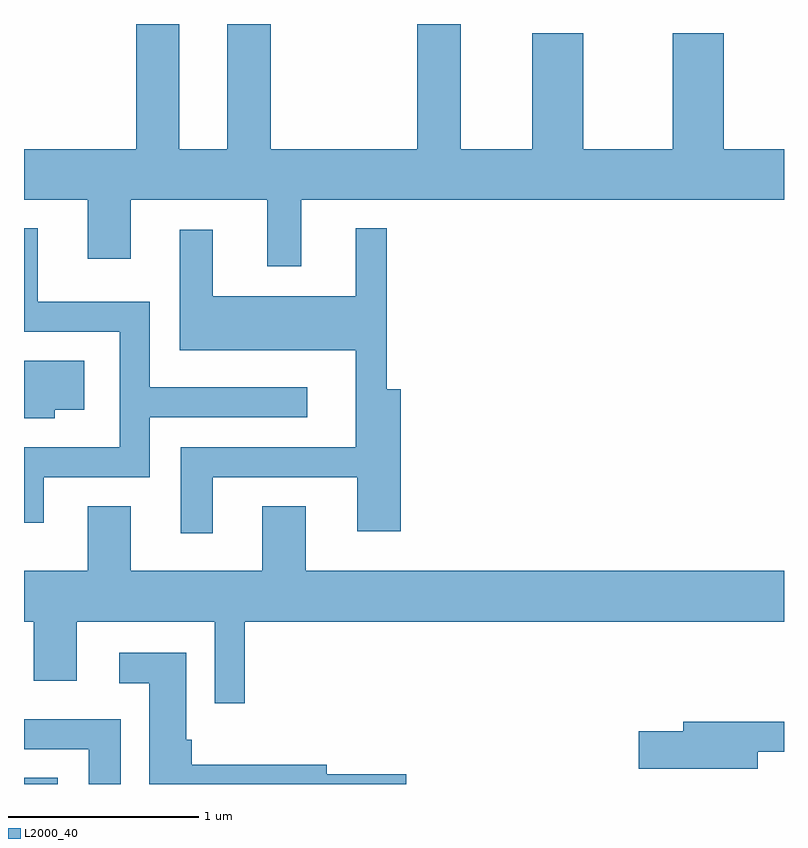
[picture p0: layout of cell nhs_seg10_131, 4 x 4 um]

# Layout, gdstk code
import gdstk
lib = gdstk.Library(unit=1e-6, precision=1e-09)
def R(c, l, rs):  # rectangles x0, y0, x1, y1
    for r in rs: c.add(gdstk.rectangle(r[:2], r[2:], *l))
def P(c, l, *ps):  # polygons
    for p in ps: c.add(gdstk.Polygon(p, *l))
L2000_40 = (2000, 40)

nhs_seg10_131 = lib.new_cell('nhs_seg10_131')
R(nhs_seg10_131, L2000_40, [(187.611,2208.522,187.789,2208.554)])
P(nhs_seg10_131, L2000_40, [(189.069,2211.596),(191.611,2211.596),(191.611,2211.864),(191.294,2211.864),(191.294,2212.474),(191.026,2212.474),(191.026,2211.864),(190.554,2211.864),(190.554,2212.474),(190.286,2212.474),(190.286,2211.864),(189.909,2211.864),(189.909,2212.522),(189.681,2212.522),(189.681,2211.864),(188.909,2211.864),(188.909,2212.522),(188.681,2212.522),(188.681,2211.864),(188.429,2211.864),(188.429,2212.522),(188.201,2212.522),(188.201,2211.864),(187.611,2211.864),(187.611,2211.596),(187.946,2211.596),(187.946,2211.286),(188.174,2211.286),(188.174,2211.596),(188.891,2211.596),(188.891,2211.246),(189.069,2211.246)],
  [(187.714,2210.136),(188.274,2210.136),(188.274,2210.451),(189.103,2210.451),(189.103,2210.609),(188.274,2210.609),(188.274,2211.059),(187.684,2211.059),(187.684,2211.448),(187.611,2211.448),(187.611,2210.901),(188.116,2210.901),(188.116,2210.294),(187.611,2210.294),(187.611,2209.896),(187.714,2209.896)],
  [(188.604,2210.136),(189.366,2210.136),(189.366,2209.851),(189.594,2209.851),(189.594,2210.599),(189.519,2210.599),(189.519,2211.448),(189.356,2211.448),(189.356,2211.089),(188.604,2211.089),(188.604,2211.439),(188.431,2211.439),(188.431,2210.806),(189.356,2210.806),(189.356,2210.294),(188.436,2210.294),(188.436,2209.843),(188.604,2209.843)],
  [(187.774,2210.491),(187.929,2210.491),(187.929,2210.749),(187.611,2210.749),(187.611,2210.446),(187.774,2210.446)],
  [(188.774,2209.376),(191.611,2209.376),(191.611,2209.644),(189.094,2209.644),(189.094,2209.984),(188.866,2209.984),(188.866,2209.644),(188.174,2209.644),(188.174,2209.984),(187.946,2209.984),(187.946,2209.644),(187.611,2209.644),(187.611,2209.376),(187.661,2209.376),(187.661,2209.066),(187.889,2209.066),(187.889,2209.376),(188.616,2209.376),(188.616,2208.948),(188.774,2208.948)],
  [(189.624,2208.574),(189.204,2208.574),(189.204,2208.624),(188.494,2208.624),(188.494,2208.754),(188.464,2208.754),(188.464,2209.214),(188.113,2209.214),(188.113,2209.051),(188.271,2209.051),(188.271,2208.522),(189.624,2208.522)],
  [(188.119,2208.864),(187.611,2208.864),(187.611,2208.706),(187.951,2208.706),(187.951,2208.522),(188.119,2208.522)],
  [(191.474,2208.691),(191.611,2208.691),(191.611,2208.849),(191.081,2208.849),(191.081,2208.799),(190.846,2208.799),(190.846,2208.601),(191.474,2208.601)])

lib.write_gds('nhs_seg10_131.gds')
